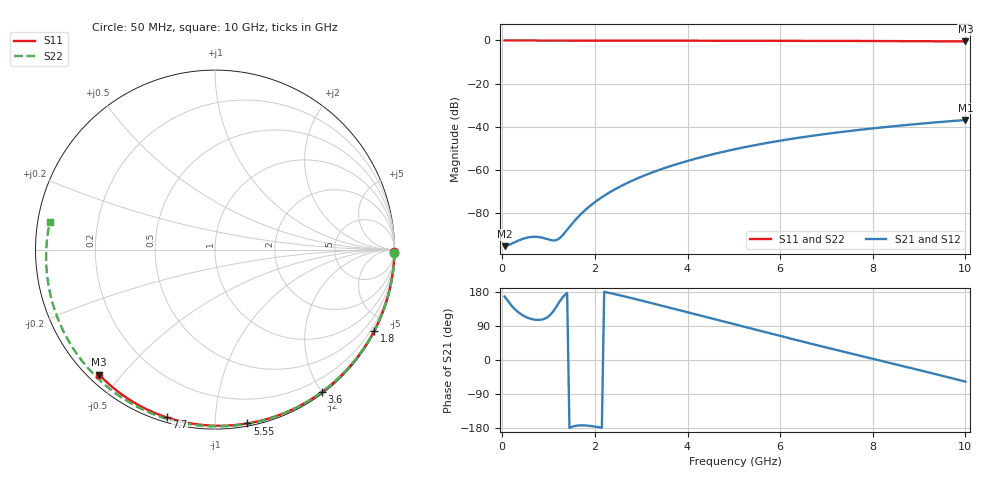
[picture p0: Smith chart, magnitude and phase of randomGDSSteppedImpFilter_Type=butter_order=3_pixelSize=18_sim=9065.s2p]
! freq	dB(S11)	phase(S11)	dB(S12)	phase(S12)
!  dB(S21)	phase(S21)	dB(S22)	phase(S22)
!S-par simulation data
#  GHz  S  DB  R 50
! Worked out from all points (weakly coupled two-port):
!   200 points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, 50 MHz to 10 GHz, reference 50 ohm
!   highest |S21| = -36.98 dB at 10 GHz (marker M1); lowest = -95.6 dB at 50 MHz (marker M2)
!   lowest |S11| = -0.4 dB at 10 GHz (marker M3), VSWR 38.72, Z = 1.54 - j21.8 ohm
!   |S11| at or under -10 dB: nowhere
!   |S22| runs from -0.6 to 0.0 dB; largest |S21 - S12| = 0
!   S11 on the Smith chart (normalised r, x): 50 MHz: open; 1.8 GHz: 0.04, -4.13; 3.6 GHz: 0.02, -2.00; 5.55 GHz: 0.02, -1.20; 7.7 GHz: 0.02, -0.75; 10 GHz: 0.03, -0.44
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0.05  -0.00 -0.8  -95.56 167.5  -95.56 167.5  -0.00 -1.1
0.45  -0.01 -6.9  -92.12 117.5  -92.12 117.5  -0.01 -9.7
0.85  -0.02 -13.0  -91.55 106.6  -91.55 106.6  -0.02 -18.2
1.25  -0.02 -19.0  -91.65 156.6  -91.65 156.6  -0.03 -26.6
1.7  -0.03 -25.7  -80.62 -172.4  -80.62 -172.4  -0.05 -36.0
1.75  -0.03 -26.5  -79.59 -172.5  -79.59 -172.5  -0.05 -37.0
1.8  -0.03 -27.2  -78.61 -172.8  -78.61 -172.8  -0.05 -38.1
2.1  -0.04 -31.6  -73.55 -177.8  -73.55 -177.8  -0.06 -44.2
2.45  -0.05 -36.8  -68.94 173.2  -68.94 173.2  -0.07 -51.3
2.9  -0.06 -43.3  -64.24 160.0  -64.24 160.0  -0.08 -60.2
3.4  -0.07 -50.4  -60.05 144.7  -60.05 144.7  -0.09 -70.0
3.6  -0.07 -53.2  -58.60 138.5  -58.60 138.5  -0.10 -73.8
4.3  -0.09 -62.9  -54.20 116.6  -54.20 116.6  -0.12 -86.9
5.05  -0.11 -72.9  -50.40 93.1  -50.40 93.1  -0.16 -100.6
5.55  -0.13 -79.5  -48.26 77.5  -48.26 77.5  -0.18 -109.5
6.1  -0.15 -86.5  -46.21 60.4  -46.21 60.4  -0.21 -119.1
6.7  -0.18 -94.0  -44.27 42.0  -44.27 42.0  -0.25 -129.6
7.7  -0.24 -106.1  -41.56 12.0  -41.56 12.0  -0.34 -147.0
8.35  -0.29 -113.8  -40.06 -7.2  -40.06 -7.2  -0.40 -158.5
9.2  -0.36 -123.7  -38.34 -32.5  -38.34 -32.5  -0.50 -174.0
9.6  -0.40 -128.3  -37.62 -44.7  -37.62 -44.7  -0.55 178.3
10  -0.45 -132.8  -36.98 -57.1  -36.98 -57.1  -0.60 170.4
